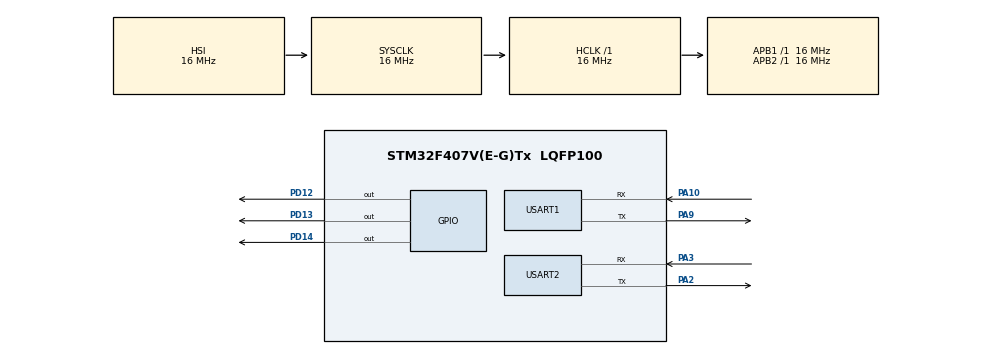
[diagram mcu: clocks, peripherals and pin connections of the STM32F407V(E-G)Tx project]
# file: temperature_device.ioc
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ADC1.Channel-0\#ChannelRegularConversion=ADC_CHANNEL_TEMPSENSOR
ADC1.ContinuousConvMode=DISABLE
ADC1.DMAContinuousRequests=ENABLE
ADC1.ExternalTrigConv=ADC_EXTERNALTRIGCONV_T2_TRGO
ADC1.NbrOfConversion=1
ADC1.NbrOfConversionFlag=1
ADC1.Rank-0\#ChannelRegularConversion=1
ADC1.SamplingTime-0\#ChannelRegularConversion=ADC_SAMPLETIME_3CYCLES
ADC1.ScanConvMode=DISABLE
ADC1.master=1
Dma.ADC1.0.Direction=DMA_PERIPH_TO_MEMORY
Dma.ADC1.0.FIFOMode=DMA_FIFOMODE_DISABLE
Dma.ADC1.0.Instance=DMA2_Stream0
Dma.ADC1.0.MemDataAlignment=DMA_MDATAALIGN_HALFWORD
Dma.ADC1.0.MemInc=DMA_MINC_ENABLE
Dma.ADC1.0.Mode=DMA_CIRCULAR
Dma.ADC1.0.PeriphDataAlignment=DMA_PDATAALIGN_HALFWORD
Dma.ADC1.0.PeriphInc=DMA_PINC_DISABLE
Dma.ADC1.0.Priority=DMA_PRIORITY_LOW
Dma.Request0=ADC1
Dma.Request1=USART2_TX
Dma.Request2=USART1_RX
Dma.USART1_RX.2.Direction=DMA_PERIPH_TO_MEMORY
Dma.USART1_RX.2.FIFOMode=DMA_FIFOMODE_DISABLE
Dma.USART1_RX.2.Instance=DMA2_Stream2
Dma.USART1_RX.2.MemDataAlignment=DMA_MDATAALIGN_BYTE
Dma.USART1_RX.2.MemInc=DMA_MINC_ENABLE
Dma.USART1_RX.2.Mode=DMA_NORMAL
Dma.USART1_RX.2.PeriphDataAlignment=DMA_PDATAALIGN_BYTE
Dma.USART1_RX.2.PeriphInc=DMA_PINC_DISABLE
Dma.USART1_RX.2.Priority=DMA_PRIORITY_LOW
Dma.USART2_TX.1.Direction=DMA_MEMORY_TO_PERIPH
Dma.USART2_TX.1.FIFOMode=DMA_FIFOMODE_DISABLE
Dma.USART2_TX.1.Instance=DMA1_Stream6
Dma.USART2_TX.1.MemDataAlignment=DMA_MDATAALIGN_BYTE
Dma.USART2_TX.1.MemInc=DMA_MINC_ENABLE
Dma.USART2_TX.1.Mode=DMA_NORMAL
Dma.USART2_TX.1.PeriphDataAlignment=DMA_PDATAALIGN_BYTE
Dma.USART2_TX.1.PeriphInc=DMA_PINC_DISABLE
Dma.USART2_TX.1.Priority=DMA_PRIORITY_LOW
Mcu.Family=STM32F4
Mcu.Name=STM32F407V(E-G)Tx
Mcu.Package=LQFP100
NVIC.DMA1_Stream6_IRQn=true\:0\:0\:false\:true\:true\:2\:false\:true\:true
NVIC.DMA2_Stream0_IRQn=true\:0\:0\:false\:true\:true\:1\:false\:true\:true
NVIC.DMA2_Stream2_IRQn=true\:0\:0\:false\:false\:true\:false\:true\:true
NVIC.PriorityGroup=NVIC_PRIORITYGROUP_4
NVIC.TIM5_IRQn=true\:0\:0\:false\:false\:true\:true\:true\:true
NVIC.USART2_IRQn=true\:0\:0\:false\:true\:true\:3\:false\:true\:true
PA10.GPIO_PuPd=GPIO_PULLDOWN
PA10.Mode=Asynchronous
PA10.Signal=USART1_RX
PA2.GPIO_PuPd=GPIO_PULLDOWN
PA2.Mode=Asynchronous
PA2.Signal=USART2_TX
PA3.GPIO_PuPd=GPIO_PULLDOWN
PA3.Mode=Asynchronous
PA3.Signal=USART2_RX
PA9.GPIO_PuPd=GPIO_PULLDOWN
PA9.Mode=Asynchronous
PA9.Signal=USART1_TX
PD12.Signal=GPIO_Output
PD13.Signal=GPIO_Output
PD14.Signal=GPIO_Output
ProjectManager.HeapSize=0x200
ProjectManager.StackSize=0x400
ProjectManager.TargetToolchain=Makefile
RCC.AHBFreq_Value=16000000
RCC.APB1Freq_Value=16000000
RCC.APB2Freq_Value=16000000
RCC.CortexFreq_Value=16000000
RCC.HSE_VALUE=25000000
RCC.HSI_VALUE=16000000
RCC.LSE_VALUE=32768
RCC.SYSCLKFreq_VALUE=16000000
RCC.VCOOutputFreq_Value=192000000
TIM2.Period=999
TIM2.Prescaler=15999
TIM2.TIM_MasterOutputTrigger=TIM_TRGO_UPDATE
TIM2.TIM_MasterSlaveMode=TIM_MASTERSLAVEMODE_ENABLE
TIM5.Period=999
TIM5.Prescaler=15999
USART1.VirtualMode=VM_ASYNC
USART2.VirtualMode=VM_ASYNC
VP_ADC1_TempSens_Input.Mode=IN-TempSens
VP_TIM2_VS_ClockSourceINT.Mode=Internal
VP_TIM5_VS_ClockSourceINT.Mode=Internal
board=custom

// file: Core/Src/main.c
/* USER CODE BEGIN Header */
/**
 ******************************************************************************
 * @file           : main.c
 * @brief          : Main program body
 ******************************************************************************
 * @attention
 *
 * Copyright (c) 2025 STMicroelectronics.
 * All rights reserved.
 *
 * This software is licensed under terms that can be found in the LICENSE file
 * in the root directory of this software component.
 * If no LICENSE file comes with this software, it is provided AS-IS.
 *
 ******************************************************************************
 */
/* USER CODE END Header */
#include "main.h"
#include "adc.h"
#include "dma.h"
#include "tim.h"
#include "usart.h"
#include "gpio.h"

/* USER CODE BEGIN Includes */
#include <stdio.h>
#include <stdlib.h>
#include <string.h>
/* USER CODE END Includes */

/* USER CODE BEGIN PD */
#define AVG_SLOPE (2.5F)
#define V_AT_25C (0.76F)
#define V_REF_INT (3.0F)
#define ADC_MAX_RES (4095)
/* USER CODE END PD */

void SystemClock_Config(void);
static void MX_NVIC_Init(void);

/* USER CODE BEGIN 0 */
#define TX_BUFF_SIZE 30
#define TEMP_STRING "{\"temperature\":%.1f}\n\r"
volatile uint16_t adc_val[1];
volatile uint8_t cnv_cplt = 0;
double myTemp = 0.0;
char tx_buff[TX_BUFF_SIZE];
double calc_temp(uint8_t adc_val)
{
    double vsense = (double)(adc_val * V_REF_INT) / ADC_MAX_RES;
    double temp = ((vsense - V_AT_25C) / AVG_SLOPE) + 25;
    return temp;
}
void HAL_ADC_ConvCpltCallback(ADC_HandleTypeDef* hadc)
{
    HAL_GPIO_TogglePin(GPIOD, GPIO_PIN_13);
    cnv_cplt = 1;
    // HAL_GPIO_TogglePin(GPIOD, GPIO_PIN_13);
    // HAL_ADC_Stop_DMA(hadc); // Stop ADC after 1 conversion
}
// Enable TIM2 global interrupt in CubeMX
void HAL_TIM_PeriodElapsedCallback(TIM_HandleTypeDef* htim)
{
    if (htim == &htim5)
    {
        HAL_GPIO_TogglePin(GPIOD, GPIO_PIN_14); // Should blink at TIM2 rate
    }
}

void HAL_UART_TxCpltCallback(UART_HandleTypeDef* huart)
{
    if (huart == &huart2)
    {
        HAL_GPIO_TogglePin(GPIOD, GPIO_PIN_12); // Should blink at TIM2 rate
    }
}
/* USER CODE END 0 */

int main(void)
{

  /* MCU Configuration--------------------------------------------------------*/

  /* Reset of all peripherals, Initializes the Flash interface and the Systick. */
  HAL_Init();

  /* Configure the system clock */
  SystemClock_Config();

  /* Initialize all configured peripherals */
  MX_DMA_Init();
  MX_GPIO_Init();
  MX_ADC1_Init();
  MX_USART1_UART_Init();
  MX_USART2_UART_Init();
  MX_TIM2_Init();
  MX_TIM5_Init();

  /* Initialize interrupts */
  MX_NVIC_Init();

  /* Infinite loop */
  /* USER CODE BEGIN WHILE */
    // HAL_ADCEx_Calibration_Start(&hadc1);
    // HAL_TIM_Base_Start(&htim2);
    HAL_TIM_Base_Start(&htim2);
    HAL_TIM_Base_Start_IT(&htim5);
    HAL_ADC_Start_DMA(&hadc1, (uint32_t*)adc_val, 2);
    // HAL_ADC_PollForConversion();
    while (1)
    {
        if (cnv_cplt)
        {
            cnv_cplt = 0;
            myTemp = calc_temp(adc_val[0]);
            snprintf(tx_buff, TX_BUFF_SIZE, "{\"temperature\":%.1f}\n\r",
                     myTemp);
            HAL_UART_Transmit_DMA(&huart2, (uint8_t*)tx_buff, TX_BUFF_SIZE);
        }
    /* USER CODE END WHILE */

    }
}

void SystemClock_Config(void)
{
  RCC_OscInitTypeDef RCC_OscInitStruct = {0};
  RCC_ClkInitTypeDef RCC_ClkInitStruct = {0};

  /** Configure the main internal regulator output voltage
  */
  __HAL_RCC_PWR_CLK_ENABLE();
  __HAL_PWR_VOLTAGESCALING_CONFIG(PWR_REGULATOR_VOLTAGE_SCALE1);

  /** Initializes the RCC Oscillators according to the specified parameters
  * in the RCC_OscInitTypeDef structure.
  */
  RCC_OscInitStruct.OscillatorType = RCC_OSCILLATORTYPE_HSI;
  RCC_OscInitStruct.HSIState = RCC_HSI_ON;
  RCC_OscInitStruct.HSICalibrationValue = RCC_HSICALIBRATION_DEFAULT;
  RCC_OscInitStruct.PLL.PLLState = RCC_PLL_NONE;
  if (HAL_RCC_OscConfig(&RCC_OscInitStruct) != HAL_OK)
  {
    Error_Handler();
  }

  /** Initializes the CPU, AHB and APB buses clocks
  */
  RCC_ClkInitStruct.ClockType = RCC_CLOCKTYPE_HCLK|RCC_CLOCKTYPE_SYSCLK
                              |RCC_CLOCKTYPE_PCLK1|RCC_CLOCKTYPE_PCLK2;
  RCC_ClkInitStruct.SYSCLKSource = RCC_SYSCLKSOURCE_HSI;
  RCC_ClkInitStruct.AHBCLKDivider = RCC_SYSCLK_DIV1;
  RCC_ClkInitStruct.APB1CLKDivider = RCC_HCLK_DIV1;
  RCC_ClkInitStruct.APB2CLKDivider = RCC_HCLK_DIV1;

  if (HAL_RCC_ClockConfig(&RCC_ClkInitStruct, FLASH_LATENCY_0) != HAL_OK)
  {
    Error_Handler();
  }
}

/**
  * @brief NVIC Configuration.
  * @retval None
  */
static void MX_NVIC_Init(void)
{
  /* DMA2_Stream0_IRQn interrupt configuration */
  HAL_NVIC_SetPriority(DMA2_Stream0_IRQn, 0, 0);
  HAL_NVIC_EnableIRQ(DMA2_Stream0_IRQn);
  /* DMA1_Stream6_IRQn interrupt configuration */
  HAL_NVIC_SetPriority(DMA1_Stream6_IRQn, 0, 0);
  HAL_NVIC_EnableIRQ(DMA1_Stream6_IRQn);
  /* USART2_IRQn interrupt configuration */
  HAL_NVIC_SetPriority(USART2_IRQn, 0, 0);
  HAL_NVIC_EnableIRQ(USART2_IRQn);
}

void Error_Handler(void)
{
  /* USER CODE BEGIN Error_Handler_Debug */
    /* User can add his own implementation to report the HAL error return state
     */
    __disable_irq();
    while (1)
    {
    }
  /* USER CODE END Error_Handler_Debug */
}

#ifdef  USE_FULL_ASSERT
/**
  * @brief  Reports the name of the source file and the source line number
  *         where the assert_param error has occurred.
  * @param  file: pointer to the source file name
  * @param  line: assert_param error line source number
  * @retval None
  */
void assert_failed(uint8_t *file, uint32_t line)
{
  /* USER CODE BEGIN 6 */
    /* User can add his own implementation to report the file name and line
       number, ex: printf("Wrong parameters value: file %s on line %d\r\n",
       file, line) */
  /* USER CODE END 6 */
}
#endif /* USE_FULL_ASSERT */
